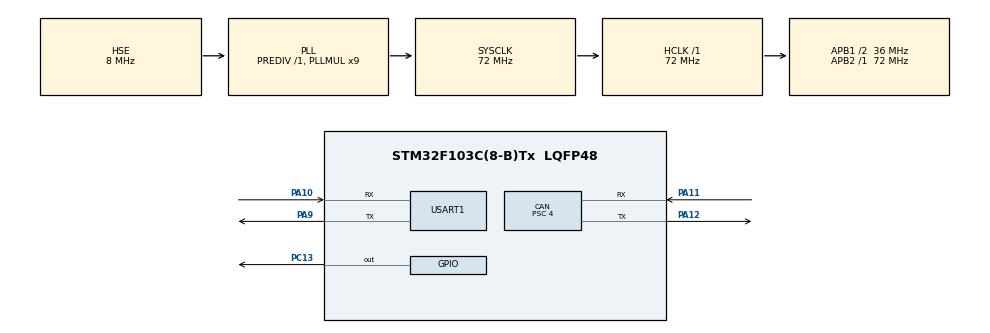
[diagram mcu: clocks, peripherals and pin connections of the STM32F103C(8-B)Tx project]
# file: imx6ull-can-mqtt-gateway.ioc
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CAN.ABOM=ENABLE
CAN.BS1=CAN_BS1_13TQ
CAN.BS2=CAN_BS2_4TQ
CAN.CalculateBaudRate=500000
CAN.CalculateTimeBit=2000
CAN.CalculateTimeQuantum=111.11111111111111
CAN.NART=ENABLE
CAN.Prescaler=4
Mcu.Family=STM32F1
Mcu.Name=STM32F103C(8-B)Tx
Mcu.Package=LQFP48
NVIC.PriorityGroup=NVIC_PRIORITYGROUP_4
PA10.Mode=Asynchronous
PA10.Signal=USART1_RX
PA11.GPIO_PuPd=GPIO_NOPULL
PA11.Mode=CAN_Activate
PA11.Signal=CAN_RX
PA12.Mode=CAN_Activate
PA12.Signal=CAN_TX
PA13.Mode=Serial_Wire
PA13.Signal=SYS_JTMS-SWDIO
PA14.Mode=Serial_Wire
PA14.Signal=SYS_JTCK-SWCLK
PA9.Mode=Asynchronous
PA9.Signal=USART1_TX
PC13-TAMPER-RTC.Signal=GPIO_Output
PD0-OSC_IN.Mode=HSE-External-Oscillator
PD0-OSC_IN.Signal=RCC_OSC_IN
PD1-OSC_OUT.Mode=HSE-External-Oscillator
PD1-OSC_OUT.Signal=RCC_OSC_OUT
ProjectManager.HeapSize=0x200
ProjectManager.StackSize=0x400
ProjectManager.TargetToolchain=MDK-ARM V5.32
RCC.AHBFreq_Value=72000000
RCC.APB1CLKDivider=RCC_HCLK_DIV2
RCC.APB1Freq_Value=36000000
RCC.APB1TimFreq_Value=72000000
RCC.APB2Freq_Value=72000000
RCC.APB2TimFreq_Value=72000000
RCC.HCLKFreq_Value=72000000
RCC.PLLMUL=RCC_PLL_MUL9
RCC.PLLSourceVirtual=RCC_PLLSOURCE_HSE
RCC.SYSCLKFreq_VALUE=72000000
RCC.SYSCLKSource=RCC_SYSCLKSOURCE_PLLCLK
RCC.USBFreq_Value=72000000
USART1.VirtualMode=VM_ASYNC
board=custom

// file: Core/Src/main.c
/* USER CODE BEGIN Header */
/**
  ******************************************************************************
  * @file           : main.c
  * @brief          : Main program body
  ******************************************************************************
  * @attention
  *
  * Copyright (c) 2026 STMicroelectronics.
  * All rights reserved.
  *
  * This software is licensed under terms that can be found in the LICENSE file
  * in the root directory of this software component.
  * If no LICENSE file comes with this software, it is provided AS-IS.
  *
  ******************************************************************************
  */
/* USER CODE END Header */
#include "main.h"
#include "can.h"
#include "usart.h"
#include "gpio.h"

/* USER CODE BEGIN Includes */

#include "ecu_traffic_profile.h"

/* USER CODE END Includes */

/* USER CODE BEGIN PTD */

typedef struct
{
  uint16_t std_id;
  uint32_t period_ms;
  uint32_t last_release_ms;
  volatile uint32_t tx_success_count;
  volatile uint32_t tx_failure_count;
  uint8_t counter;
} ECU_MessageStateTypeDef;

typedef struct
{
  uint16_t vehicle_speed_centi_kph;
  uint16_t engine_speed_quarter_rpm;
  uint16_t throttle_tenth_percent;
  uint16_t battery_millivolt;
  uint32_t odometer_tenth_km;
  int16_t coolant_celsius;
  uint16_t soc_tenth_percent;
  uint16_t fault_flags;
  uint8_t gear;
  uint8_t door_flags;
  uint8_t ignition_state;
} ECU_VehicleStateTypeDef;

/* USER CODE END PTD */

/* USER CODE BEGIN PD */

#define ECU_MESSAGE_COUNT              3U
#define ECU_VEHICLE_DYNAMICS_ID        0x100U
#define ECU_POWER_STATUS_ID            0x101U
#define ECU_BODY_STATUS_ID             0x102U

/*
 * 一个 tick 对应一帧成功发送的 0x100（10 ms）。60 秒场景依次为：
 * 熄火驻车 3 s、怠速 2 s、加速 15 s、巡航 20 s、减速 15 s、
 * 怠速 3 s、熄火驻车 2 s。发送失败时不推进场景或 counter，保证
 * 接收端看到的成功帧序列可以按相同初值逐帧复现。
 */
#define ECU_DRIVE_CYCLE_TICKS          6000U
#define ECU_ENGINE_START_TICK          300U
#define ECU_ACCEL_START_TICK           500U
#define ECU_CRUISE_START_TICK          2000U
#define ECU_DECEL_START_TICK           4000U
#define ECU_IDLE_STOP_TICK             5500U
#define ECU_ENGINE_STOP_TICK           5800U

#define ECU_CRUISE_SPEED_CENTI_KPH     6000U
#define ECU_IDLE_SPEED_RPM             800U
#define ECU_THROTTLE_ACCEL_TENTH       320U
#define ECU_THROTTLE_CRUISE_TENTH      160U
#define ECU_BATTERY_OFF_MILLIVOLT      12600U
#define ECU_BATTERY_RUNNING_MILLIVOLT  13800U
#define ECU_INITIAL_COOLANT_CELSIUS    20
#define ECU_MAX_COOLANT_CELSIUS        90
#define ECU_INITIAL_SOC_TENTH          800U
#define ECU_INITIAL_ODOMETER_TENTH_KM  1234567UL
#define ECU_ODOMETER_MAX_TENTH_KM      0xFFFFFFUL
#define ECU_DISTANCE_DIVISOR           3600000UL

/* 这些取值是模拟场景约定；DBC 只规定字段位宽，没有定义枚举文本。 */
#define ECU_GEAR_NEUTRAL               0U
#define ECU_IGNITION_OFF               0U
#define ECU_IGNITION_RUN               2U
#define ECU_DOOR_DRIVER_OPEN           0x01U

/* USER CODE END PD */

/* USER CODE BEGIN PV */

static ECU_MessageStateTypeDef ecu_messages[ECU_MESSAGE_COUNT] =
{
  {ECU_VEHICLE_DYNAMICS_ID,   10U, 0U, 0U, 0U, 0U},
  {ECU_POWER_STATUS_ID,      100U, 0U, 0U, 0U, 0U},
  {ECU_BODY_STATUS_ID,      1000U, 0U, 0U, 0U, 0U}
};

static ECU_VehicleStateTypeDef ecu_vehicle_state =
{
  0U,
  0U,
  0U,
  ECU_BATTERY_OFF_MILLIVOLT,
  ECU_INITIAL_ODOMETER_TENTH_KM,
  ECU_INITIAL_COOLANT_CELSIUS,
  ECU_INITIAL_SOC_TENTH,
  0U,
  ECU_GEAR_NEUTRAL,
  ECU_DOOR_DRIVER_OPEN,
  ECU_IGNITION_OFF
};

static uint32_t ecu_drive_cycle_tick;
static uint32_t ecu_distance_accumulator;
static uint16_t ecu_warmup_tick_count;
static uint16_t ecu_cooldown_tick_count;

#if ECU_TRAFFIC_PROFILE != ECU_TRAFFIC_PROFILE_111
static uint32_t ecu_stress_last_release_ms;
static uint32_t ecu_stress_state_last_advance_ms;
static volatile uint32_t ecu_stress_missed_slot_count;
static uint8_t ecu_stress_slot;
#endif

/* USER CODE END PV */

void SystemClock_Config(void);
/* USER CODE BEGIN PFP */

static void ECU_InitSchedule(uint32_t now);
#if ECU_TRAFFIC_PROFILE == ECU_TRAFFIC_PROFILE_111
static uint8_t ECU_ProcessMessage(ECU_MessageStateTypeDef *message,
                                  uint32_t now);
#endif
static uint8_t ECU_TransmitMessage(ECU_MessageStateTypeDef *message);
#if ECU_TRAFFIC_PROFILE != ECU_TRAFFIC_PROFILE_111
static uint8_t ECU_ProcessStressSlot(uint32_t now);
static uint8_t ECU_StressMessageIndex(uint8_t slot);
static void ECU_ProcessStressStateClock(uint32_t now);
#endif
static void ECU_BuildPayload(const ECU_MessageStateTypeDef *message,
                             uint8_t payload[8]);
static void ECU_UpdateVehicleState(void);
static void ECU_AdvanceVehicleState(void);
static uint8_t ECU_SelectGear(uint16_t speed_centi_kph);
static uint16_t ECU_CalculateEngineSpeed(uint16_t speed_centi_kph,
                                         uint8_t gear);
static uint8_t ECU_EncodeTenthPercent(uint16_t tenth_percent);
static void ECU_PackU16Le(uint8_t payload[8], uint8_t offset,
                          uint16_t value);
static void ECU_PackU24Le(uint8_t payload[8], uint8_t offset,
                          uint32_t value);
static void ECU_FinalizePayload(uint8_t counter, uint8_t payload[8]);

/* USER CODE END PFP */

/* USER CODE BEGIN 0 */

static void ECU_InitSchedule(uint32_t now)
{
  uint32_t index;

  for (index = 0U; index < ECU_MESSAGE_COUNT; index++)
  {
    ecu_messages[index].last_release_ms = now;
  }

#if ECU_TRAFFIC_PROFILE != ECU_TRAFFIC_PROFILE_111
  ecu_stress_last_release_ms = now;
  ecu_stress_state_last_advance_ms = now;
  ecu_stress_missed_slot_count = 0U;
  ecu_stress_slot = 0U;
#endif
}

static uint8_t ECU_SelectGear(uint16_t speed_centi_kph)
{
  if (speed_centi_kph <= 1200U)
  {
    return 1U;
  }
  if (speed_centi_kph <= 2500U)
  {
    return 2U;
  }
  if (speed_centi_kph <= 4000U)
  {
    return 3U;
  }
  return 4U;
}

static uint16_t ECU_CalculateEngineSpeed(uint16_t speed_centi_kph,
                                         uint8_t gear)
{
  uint32_t engine_rpm;

  if (speed_centi_kph == 0U)
  {
    engine_rpm = ECU_IDLE_SPEED_RPM;
  }
  else if (gear == 1U)
  {
    engine_rpm = 900U + (((uint32_t)speed_centi_kph * 7U) / 5U);
  }
  else if (gear == 2U)
  {
    engine_rpm = 900U + (((uint32_t)speed_centi_kph * 7U) / 10U);
  }
  else if (gear == 3U)
  {
    engine_rpm = 900U + (((uint32_t)speed_centi_kph * 9U) / 20U);
  }
  else
  {
    engine_rpm = 900U + ((uint32_t)speed_centi_kph / 4U);
  }

  /* EngineSpeed 的 DBC factor 为 0.25 rpm，因此 raw = rpm * 4。 */
  return (uint16_t)(engine_rpm * 4U);
}

static void ECU_UpdateVehicleState(void)
{
  uint32_t phase_tick;
  uint32_t ramp_tick;

  phase_tick = ecu_drive_cycle_tick;

  if ((phase_tick < ECU_ENGINE_START_TICK) ||
      (phase_tick >= ECU_ENGINE_STOP_TICK))
  {
    ecu_vehicle_state.vehicle_speed_centi_kph = 0U;
    ecu_vehicle_state.engine_speed_quarter_rpm = 0U;
    ecu_vehicle_state.throttle_tenth_percent = 0U;
    ecu_vehicle_state.gear = ECU_GEAR_NEUTRAL;
    ecu_vehicle_state.ignition_state = ECU_IGNITION_OFF;
    ecu_vehicle_state.door_flags = ECU_DOOR_DRIVER_OPEN;
  }
  else if ((phase_tick < ECU_ACCEL_START_TICK) ||
           (phase_tick >= ECU_IDLE_STOP_TICK))
  {
    ecu_vehicle_state.vehicle_speed_centi_kph = 0U;
    ecu_vehicle_state.engine_speed_quarter_rpm =
      (uint16_t)(ECU_IDLE_SPEED_RPM * 4U);
    ecu_vehicle_state.throttle_tenth_percent = 0U;
    ecu_vehicle_state.gear = ECU_GEAR_NEUTRAL;
    ecu_vehicle_state.ignition_state = ECU_IGNITION_RUN;
    ecu_vehicle_state.door_flags = 0U;
  }
  else if (phase_tick < ECU_CRUISE_START_TICK)
  {
    ramp_tick = phase_tick - ECU_ACCEL_START_TICK;
    ecu_vehicle_state.vehicle_speed_centi_kph =
      (uint16_t)((ramp_tick * ECU_CRUISE_SPEED_CENTI_KPH) /
                 (ECU_CRUISE_START_TICK - ECU_ACCEL_START_TICK));
    ecu_vehicle_state.throttle_tenth_percent =
      ECU_THROTTLE_ACCEL_TENTH;
    ecu_vehicle_state.gear =
      ECU_SelectGear(ecu_vehicle_state.vehicle_speed_centi_kph);
    ecu_vehicle_state.engine_speed_quarter_rpm =
      ECU_CalculateEngineSpeed(ecu_vehicle_state.vehicle_speed_centi_kph,
                               ecu_vehicle_state.gear);
    ecu_vehicle_state.ignition_state = ECU_IGNITION_RUN;
    ecu_vehicle_state.door_flags = 0U;
  }
  else if (phase_tick < ECU_DECEL_START_TICK)
  {
    ecu_vehicle_state.vehicle_speed_centi_kph =
      ECU_CRUISE_SPEED_CENTI_KPH;
    ecu_vehicle_state.throttle_tenth_percent =
      ECU_THROTTLE_CRUISE_TENTH;
    ecu_vehicle_state.gear = 4U;
    ecu_vehicle_state.engine_speed_quarter_rpm =
      ECU_CalculateEngineSpeed(ecu_vehicle_state.vehicle_speed_centi_kph,
                               ecu_vehicle_state.gear);
    ecu_vehicle_state.ignition_state = ECU_IGNITION_RUN;
    ecu_vehicle_state.door_flags = 0U;
  }
  else
  {
    ramp_tick = phase_tick - ECU_DECEL_START_TICK;
    ecu_vehicle_state.vehicle_speed_centi_kph =
      (uint16_t)(ECU_CRUISE_SPEED_CENTI_KPH -
                 ((ramp_tick * ECU_CRUISE_SPEED_CENTI_KPH) /
                  (ECU_IDLE_STOP_TICK - ECU_DECEL_START_TICK)));
    ecu_vehicle_state.throttle_tenth_percent = 0U;
    ecu_vehicle_state.gear =
      ECU_SelectGear(ecu_vehicle_state.vehicle_speed_centi_kph);
    ecu_vehicle_state.engine_speed_quarter_rpm =
      ECU_CalculateEngineSpeed(ecu_vehicle_state.vehicle_speed_centi_kph,
                               ecu_vehicle_state.gear);
    ecu_vehicle_state.ignition_state = ECU_IGNITION_RUN;
    ecu_vehicle_state.door_flags = 0U;
  }

  ecu_vehicle_state.battery_millivolt =
    (ecu_vehicle_state.engine_speed_quarter_rpm == 0U) ?
    ECU_BATTERY_OFF_MILLIVOLT : ECU_BATTERY_RUNNING_MILLIVOLT;
}

static uint8_t ECU_EncodeTenthPercent(uint16_t tenth_percent)
{
  if (tenth_percent > 1000U)
  {
    tenth_percent = 1000U;
  }

  /* DBC factor 0.4 % 等于 4 个 0.1 %；场景值均可被 4 整除。 */
  return (uint8_t)(tenth_percent / 4U);
}

static void ECU_PackU16Le(uint8_t payload[8], uint8_t offset,
                          uint16_t value)
{
  payload[offset] = (uint8_t)(value & 0xFFU);
  payload[offset + 1U] = (uint8_t)(value >> 8U);
}

static void ECU_PackU24Le(uint8_t payload[8], uint8_t offset,
                          uint32_t value)
{
  payload[offset] = (uint8_t)(value & 0xFFU);
  payload[offset + 1U] = (uint8_t)((value >> 8U) & 0xFFU);
  payload[offset + 2U] = (uint8_t)((value >> 16U) & 0xFFU);
}

static void ECU_FinalizePayload(uint8_t counter, uint8_t payload[8])
{
  uint8_t byte_index;
  uint8_t xor_value = 0U;

  payload[6] = counter;
  for (byte_index = 0U; byte_index < 7U; byte_index++)
  {
    xor_value ^= payload[byte_index];
  }
  payload[7] = xor_value;
}

static void ECU_BuildPayload(const ECU_MessageStateTypeDef *message,
                             uint8_t payload[8])
{
  if (message->std_id == ECU_VEHICLE_DYNAMICS_ID)
  {
    ECU_PackU16Le(payload, 0U,
                  ecu_vehicle_state.vehicle_speed_centi_kph);
    ECU_PackU16Le(payload, 2U,
                  ecu_vehicle_state.engine_speed_quarter_rpm);
    payload[4] =
      ECU_EncodeTenthPercent(ecu_vehicle_state.throttle_tenth_percent);
    payload[5] = ecu_vehicle_state.gear;
  }
  else if (message->std_id == ECU_POWER_STATUS_ID)
  {
    ECU_PackU16Le(payload, 0U, ecu_vehicle_state.battery_millivolt);
    payload[2] = (uint8_t)(ecu_vehicle_state.coolant_celsius + 40);
    payload[3] =
      ECU_EncodeTenthPercent(ecu_vehicle_state.soc_tenth_percent);
    ECU_PackU16Le(payload, 4U, ecu_vehicle_state.fault_flags);
  }
  else
  {
    ECU_PackU24Le(payload, 0U, ecu_vehicle_state.odometer_tenth_km);
    payload[3] = (uint8_t)(ecu_vehicle_state.door_flags & 0x0FU);
    payload[4] = (uint8_t)(ecu_vehicle_state.ignition_state & 0x03U);
    /* byte 3 高四位、byte 4 高六位和 byte 5 是 spare，保持为零。 */
  }

  ECU_FinalizePayload(message->counter, payload);
}

static uint8_t ECU_TransmitMessage(ECU_MessageStateTypeDef *message)
{
  uint8_t tx_data[8] = {0};

  ECU_BuildPayload(message, tx_data);

  if (CAN_SendMessage(message->std_id, tx_data, 8U) == HAL_OK)
  {
    message->counter++;
    message->tx_success_count++;
    return 1U;
  }

  message->tx_failure_count++;
  return 0U;
}

#if ECU_TRAFFIC_PROFILE == ECU_TRAFFIC_PROFILE_111
static uint8_t ECU_ProcessMessage(ECU_MessageStateTypeDef *message,
                                  uint32_t now)
{
  uint32_t elapsed;

  elapsed = now - message->last_release_ms;
  if (elapsed < message->period_ms)
  {
    return 0U;
  }

  /* Preserve the schedule phase while skipping any already missed slots. */
  message->last_release_ms += (elapsed / message->period_ms) *
                              message->period_ms;
  return ECU_TransmitMessage(message);
}
#endif

#if ECU_TRAFFIC_PROFILE != ECU_TRAFFIC_PROFILE_111
static uint8_t ECU_StressMessageIndex(uint8_t slot)
{
  if (slot == (ECU_STRESS_SUPERFRAME_SLOTS - 1U))
  {
    return 2U;
  }
  if (((slot + 1U) % 10U) == 0U)
  {
    return 1U;
  }
  return 0U;
}

static uint8_t ECU_ProcessStressSlot(uint32_t now)
{
  uint32_t elapsed;
  uint32_t elapsed_slots;
  uint8_t message_index;
  uint8_t sent;

  elapsed = now - ecu_stress_last_release_ms;
  if (elapsed < ECU_STRESS_SLOT_PERIOD_MS)
  {
    return 0U;
  }

  elapsed_slots = elapsed / ECU_STRESS_SLOT_PERIOD_MS;
  ecu_stress_last_release_ms += elapsed_slots * ECU_STRESS_SLOT_PERIOD_MS;

  if (elapsed_slots > 1U)
  {
    ecu_stress_missed_slot_count += elapsed_slots - 1U;
    ecu_stress_slot = (uint8_t)(
      (ecu_stress_slot + ((elapsed_slots - 1U) %
                          ECU_STRESS_SUPERFRAME_SLOTS)) %
      ECU_STRESS_SUPERFRAME_SLOTS);
  }

  message_index = ECU_StressMessageIndex(ecu_stress_slot);
  sent = ECU_TransmitMessage(&ecu_messages[message_index]);

  /*
   * 失败帧不重试、不推进该ID counter，也不突发补发；slot仍按单调时钟推进。
   * 正式门禁必须由candump速率/序列及Keil Watch中的failure/missed计数共同判零。
   */
  ecu_stress_slot++;
  if (ecu_stress_slot >= ECU_STRESS_SUPERFRAME_SLOTS)
  {
    ecu_stress_slot = 0U;
  }
  return (message_index == 0U) ? sent : 0U;
}

static void ECU_ProcessStressStateClock(uint32_t now)
{
  uint32_t elapsed;
  uint32_t state_ticks;

  elapsed = now - ecu_stress_state_last_advance_ms;
  state_ticks = elapsed / 10U;
  ecu_stress_state_last_advance_ms += state_ticks * 10U;

  while (state_ticks > 0U)
  {
    ECU_AdvanceVehicleState();
    ECU_UpdateVehicleState();
    state_ticks--;
  }
}
#endif

static void ECU_AdvanceVehicleState(void)
{
  ecu_distance_accumulator +=
    (uint32_t)ecu_vehicle_state.vehicle_speed_centi_kph;
  if (ecu_distance_accumulator >= ECU_DISTANCE_DIVISOR)
  {
    ecu_distance_accumulator -= ECU_DISTANCE_DIVISOR;
    if (ecu_vehicle_state.odometer_tenth_km < ECU_ODOMETER_MAX_TENTH_KM)
    {
      ecu_vehicle_state.odometer_tenth_km++;
    }
  }

  if (ecu_vehicle_state.engine_speed_quarter_rpm != 0U)
  {
    ecu_cooldown_tick_count = 0U;
    ecu_warmup_tick_count++;
    if (ecu_warmup_tick_count >= 100U)
    {
      ecu_warmup_tick_count = 0U;
      if (ecu_vehicle_state.coolant_celsius < ECU_MAX_COOLANT_CELSIUS)
      {
        ecu_vehicle_state.coolant_celsius++;
      }
    }
  }
  else
  {
    ecu_warmup_tick_count = 0U;
    ecu_cooldown_tick_count++;
    if (ecu_cooldown_tick_count >= 500U)
    {
      ecu_cooldown_tick_count = 0U;
      if (ecu_vehicle_state.coolant_celsius > ECU_INITIAL_COOLANT_CELSIUS)
      {
        ecu_vehicle_state.coolant_celsius--;
      }
    }
  }

  ecu_drive_cycle_tick++;
  if (ecu_drive_cycle_tick >= ECU_DRIVE_CYCLE_TICKS)
  {
    ecu_drive_cycle_tick = 0U;
  }
}

/* USER CODE END 0 */

int main(void)
{

  /* MCU Configuration--------------------------------------------------------*/

  /* Reset of all peripherals, Initializes the Flash interface and the Systick. */
  HAL_Init();

  /* Configure the system clock */
  SystemClock_Config();

  /* Initialize all configured peripherals */
  MX_GPIO_Init();
  MX_CAN_Init();
  MX_USART1_UART_Init();
  /* USER CODE BEGIN 2 */

  if (HAL_CAN_Start(&hcan) != HAL_OK)
  {
    Error_Handler();
  }

  ECU_InitSchedule(HAL_GetTick());

  /* USER CODE END 2 */

  /* Infinite loop */
  while (1)
  {

    /* USER CODE BEGIN 3 */
    uint32_t now;
#if ECU_TRAFFIC_PROFILE == ECU_TRAFFIC_PROFILE_111
    uint8_t dynamics_sent;
#endif

    now = HAL_GetTick();
    ECU_UpdateVehicleState();
#if ECU_TRAFFIC_PROFILE == ECU_TRAFFIC_PROFILE_111
    dynamics_sent = ECU_ProcessMessage(&ecu_messages[0], now);
    (void)ECU_ProcessMessage(&ecu_messages[1], now);
    (void)ECU_ProcessMessage(&ecu_messages[2], now);
    if (dynamics_sent != 0U)
    {
      ECU_AdvanceVehicleState();
    }
#else
    (void)ECU_ProcessStressSlot(now);
    ECU_ProcessStressStateClock(now);
#endif
  }
  /* USER CODE END 3 */
}

void SystemClock_Config(void)
{
  RCC_OscInitTypeDef RCC_OscInitStruct = {0};
  RCC_ClkInitTypeDef RCC_ClkInitStruct = {0};

  /** Initializes the RCC Oscillators according to the specified parameters
  * in the RCC_OscInitTypeDef structure.
  */
  RCC_OscInitStruct.OscillatorType = RCC_OSCILLATORTYPE_HSE;
  RCC_OscInitStruct.HSEState = RCC_HSE_ON;
  RCC_OscInitStruct.HSEPredivValue = RCC_HSE_PREDIV_DIV1;
  RCC_OscInitStruct.HSIState = RCC_HSI_ON;
  RCC_OscInitStruct.PLL.PLLState = RCC_PLL_ON;
  RCC_OscInitStruct.PLL.PLLSource = RCC_PLLSOURCE_HSE;
  RCC_OscInitStruct.PLL.PLLMUL = RCC_PLL_MUL9;
  if (HAL_RCC_OscConfig(&RCC_OscInitStruct) != HAL_OK)
  {
    Error_Handler();
  }

  /** Initializes the CPU, AHB and APB buses clocks
  */
  RCC_ClkInitStruct.ClockType = RCC_CLOCKTYPE_HCLK|RCC_CLOCKTYPE_SYSCLK
                              |RCC_CLOCKTYPE_PCLK1|RCC_CLOCKTYPE_PCLK2;
  RCC_ClkInitStruct.SYSCLKSource = RCC_SYSCLKSOURCE_PLLCLK;
  RCC_ClkInitStruct.AHBCLKDivider = RCC_SYSCLK_DIV1;
  RCC_ClkInitStruct.APB1CLKDivider = RCC_HCLK_DIV2;
  RCC_ClkInitStruct.APB2CLKDivider = RCC_HCLK_DIV1;

  if (HAL_RCC_ClockConfig(&RCC_ClkInitStruct, FLASH_LATENCY_2) != HAL_OK)
  {
    Error_Handler();
  }
}

void Error_Handler(void)
{
  __disable_irq();
  while (1)
  {
  }
}
